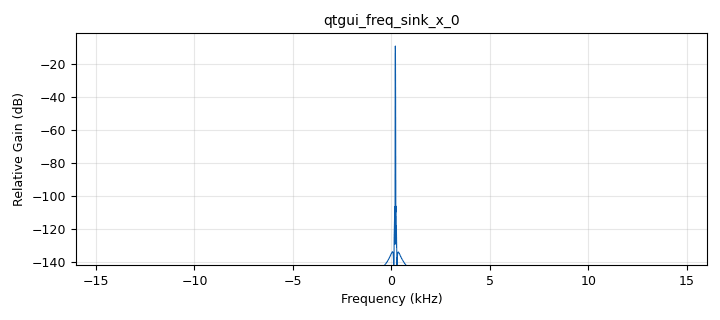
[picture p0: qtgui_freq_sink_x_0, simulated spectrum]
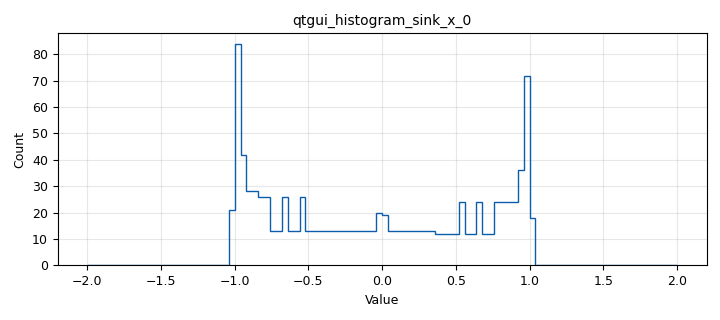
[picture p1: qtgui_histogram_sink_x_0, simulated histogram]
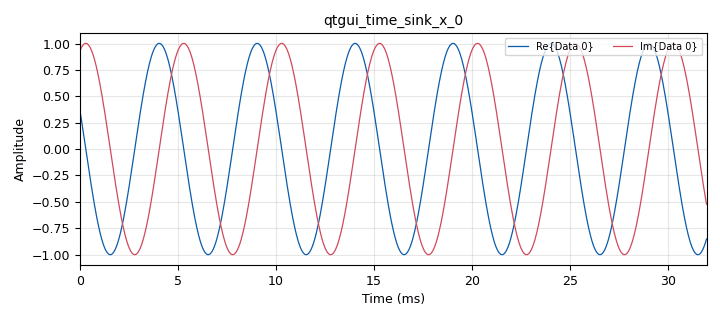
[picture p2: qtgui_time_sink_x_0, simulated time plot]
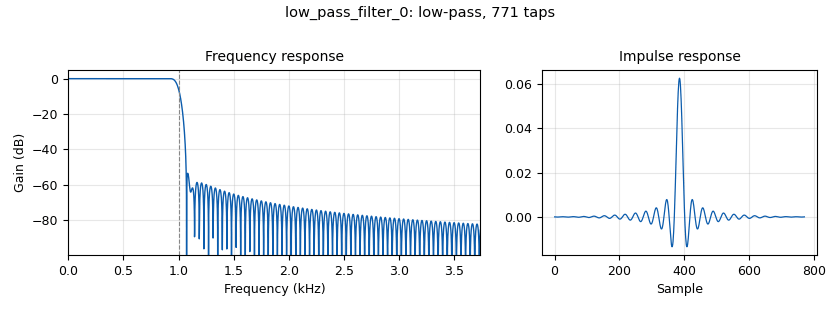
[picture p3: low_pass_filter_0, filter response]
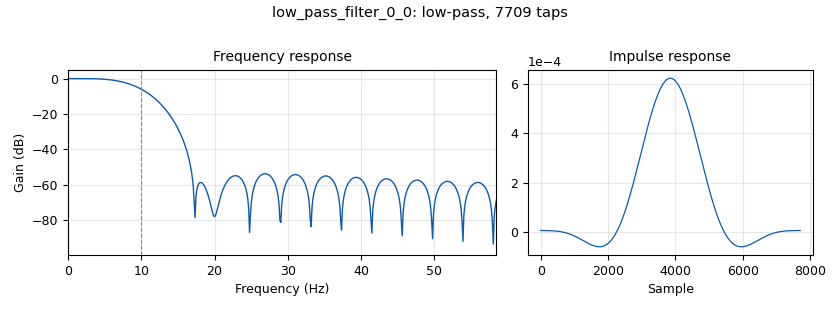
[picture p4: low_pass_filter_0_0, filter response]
<?xml version='1.0' encoding='utf-8'?>
<?grc format='1' created='3.7.11'?>
<flow_graph>
<block>
<key>options</key>
<param><key>id</key><value>power_x002</value></param>
<param><key>author</key><value>Maurice Woods</value></param>
<param><key>description</key><value>Lab 05</value></param>
<param><key>generate_options</key><value>qt_gui</value></param>
<param><key>title</key><value>Power/PSD Example 2</value></param>
</block>
<block>
<key>variable_qtgui_range</key>
<param><key>id</key><value>A</value></param>
<param><key>value</key><value>1</value></param>
<param><key>gui_hint</key><value>1,2,1,1</value></param>
<param><key>orient</key><value>Qt.Horizontal</value></param>
<param><key>start</key><value>0</value></param>
<param><key>step</key><value>0.1</value></param>
<param><key>stop</key><value>2</value></param>
</block>
<block>
<key>variable</key>
<param><key>id</key><value>Fs</value></param>
<param><key>value</key><value>32000</value></param>
</block>
<block>
<key>variable_qtgui_range</key>
<param><key>id</key><value>f0</value></param>
<param><key>value</key><value>200</value></param>
<param><key>gui_hint</key><value>0,2,1,1</value></param>
<param><key>label</key><value>f0</value></param>
<param><key>orient</key><value>Qt.Horizontal</value></param>
<param><key>start</key><value>0</value></param>
<param><key>step</key><value>1</value></param>
<param><key>stop</key><value>1000</value></param>
</block>
<block>
<key>variable_qtgui_range</key>
<param><key>id</key><value>fL</value></param>
<param><key>value</key><value>1000</value></param>
<param><key>gui_hint</key><value>1,3,1,1</value></param>
<param><key>label</key><value>fL</value></param>
<param><key>orient</key><value>Qt.Horizontal</value></param>
<param><key>start</key><value>10</value></param>
<param><key>step</key><value>1</value></param>
<param><key>stop</key><value>10000</value></param>
</block>
<block>
<key>variable_qtgui_range</key>
<param><key>id</key><value>offs</value></param>
<param><key>value</key><value>0</value></param>
<param><key>gui_hint</key><value>0,3,1,1</value></param>
<param><key>orient</key><value>Qt.Horizontal</value></param>
<param><key>start</key><value>-1</value></param>
<param><key>step</key><value>0.01</value></param>
<param><key>stop</key><value>1</value></param>
</block>
<block>
<key>variable_qtgui_chooser</key>
<param><key>id</key><value>waveform</value></param>
<param><key>value</key><value>102</value></param>
<param><key>gui_hint</key><value>0,0,1,2</value></param>
<param><key>label0</key><value>Cosine</value></param>
<param><key>label1</key><value>Rectangular</value></param>
<param><key>label2</key><value>Triangular</value></param>
<param><key>label</key><value>Waveformm</value></param>
<param><key>num_opts</key><value>3</value></param>
<param><key>option0</key><value>102</value></param>
<param><key>option1</key><value>103</value></param>
<param><key>option2</key><value>104</value></param>
<param><key>orient</key><value>Qt.QHBoxLayout</value></param>
<param><key>type</key><value>int</value></param>
</block>
<block>
<key>analog_sig_source_x</key>
<param><key>id</key><value>analog_sig_source_x_0</value></param>
<param><key>amp</key><value>A</value></param>
<param><key>freq</key><value>f0</value></param>
<param><key>offset</key><value>offs</value></param>
<param><key>type</key><value>complex</value></param>
<param><key>samp_rate</key><value>Fs</value></param>
<param><key>waveform</key><value>waveform</value></param>
</block>
<block>
<key>blocks_complex_to_float</key>
<param><key>id</key><value>blocks_complex_to_float_0</value></param>
</block>
<block>
<key>blocks_complex_to_imag</key>
<param><key>id</key><value>blocks_complex_to_imag_0</value></param>
</block>
<block>
<key>blocks_complex_to_mag_squared</key>
<param><key>id</key><value>blocks_complex_to_mag_squared_0</value></param>
</block>
<block>
<key>blocks_multiply_xx</key>
<param><key>id</key><value>blocks_multiply_xx_0</value></param>
<param><key>type</key><value>float</value></param>
</block>
<block>
<key>blocks_throttle</key>
<param><key>id</key><value>blocks_throttle_0</value></param>
<param><key>samples_per_second</key><value>Fs</value></param>
<param><key>type</key><value>complex</value></param>
</block>
<block>
<key>import</key>
<param><key>id</key><value>import_0</value></param>
<param><key>import</key><value>import ptfun</value></param>
</block>
<block>
<key>low_pass_filter</key>
<param><key>id</key><value>low_pass_filter_0</value></param>
<param><key>cutoff_freq</key><value>fL</value></param>
<param><key>decim</key><value>1</value></param>
<param><key>type</key><value>fir_filter_ccf</value></param>
<param><key>gain</key><value>1</value></param>
<param><key>samp_rate</key><value>Fs</value></param>
<param><key>width</key><value>100</value></param>
<param><key>win</key><value>firdes.WIN_HAMMING</value></param>
</block>
<block>
<key>low_pass_filter</key>
<param><key>id</key><value>low_pass_filter_0_0</value></param>
<param><key>cutoff_freq</key><value>10</value></param>
<param><key>decim</key><value>1</value></param>
<param><key>type</key><value>fir_filter_fff</value></param>
<param><key>gain</key><value>1</value></param>
<param><key>samp_rate</key><value>Fs</value></param>
<param><key>width</key><value>10</value></param>
<param><key>win</key><value>firdes.WIN_HAMMING</value></param>
</block>
<block>
<key>low_pass_filter</key>
<param><key>id</key><value>low_pass_filter_0_0_0</value></param>
<param><key>cutoff_freq</key><value>10</value></param>
<param><key>decim</key><value>1</value></param>
<param><key>type</key><value>fir_filter_fff</value></param>
<param><key>gain</key><value>1</value></param>
<param><key>samp_rate</key><value>Fs</value></param>
<param><key>width</key><value>10</value></param>
<param><key>win</key><value>firdes.WIN_HAMMING</value></param>
</block>
<block>
<key>qtgui_freq_sink_x</key>
<param><key>id</key><value>qtgui_freq_sink_x_0</value></param>
<param><key>autoscale</key><value>True</value></param>
<param><key>bw</key><value>Fs</value></param>
<param><key>fc</key><value>0</value></param>
<param><key>fftsize</key><value>8192</value></param>
<param><key>gui_hint</key><value>4,2,1,2</value></param>
<param><key>grid</key><value>True</value></param>
<param><key>showports</key><value>True</value></param>
<param><key>type</key><value>complex</value></param>
<param><key>wintype</key><value>firdes.WIN_BLACKMAN_hARRIS</value></param>
</block>
<block>
<key>qtgui_histogram_sink_x</key>
<param><key>id</key><value>qtgui_histogram_sink_x_0</value></param>
<param><key>gui_hint</key><value>5,2,1,2</value></param>
<param><key>grid</key><value>True</value></param>
<param><key>xmax</key><value>2</value></param>
<param><key>xmin</key><value>-2</value></param>
<param><key>bins</key><value>100</value></param>
<param><key>size</key><value>1024</value></param>
<param><key>type</key><value>float</value></param>
</block>
<block>
<key>qtgui_number_sink</key>
<param><key>id</key><value>qtgui_number_sink_0</value></param>
<param><key>gui_hint</key><value>3,0,3,1</value></param>
<param><key>graph_type</key><value>qtgui.NUM_GRAPH_VERT</value></param>
<param><key>type</key><value>float</value></param>
<param><key>max</key><value>2</value></param>
<param><key>min</key><value>0</value></param>
<param><key>name</key><value>"Avg Power"</value></param>
</block>
<block>
<key>qtgui_number_sink</key>
<param><key>id</key><value>qtgui_number_sink_0_0</value></param>
<param><key>gui_hint</key><value>3,1,3,1</value></param>
<param><key>graph_type</key><value>qtgui.NUM_GRAPH_VERT</value></param>
<param><key>type</key><value>float</value></param>
<param><key>max</key><value>2</value></param>
<param><key>min</key><value>0</value></param>
<param><key>name</key><value>"Imaginary Power"</value></param>
</block>
<block>
<key>qtgui_time_sink_x</key>
<param><key>id</key><value>qtgui_time_sink_x_0</value></param>
<param><key>autoscale</key><value>True</value></param>
<param><key>gui_hint</key><value>3,2,1,2</value></param>
<param><key>grid</key><value>True</value></param>
<param><key>color1</key><value>"blue"</value></param>
<param><key>label1</key><value></value></param>
<param><key>color2</key><value>"red"</value></param>
<param><key>label2</key><value></value></param>
<param><key>size</key><value>1024</value></param>
<param><key>srate</key><value>Fs</value></param>
<param><key>type</key><value>complex</value></param>
</block>
<connection><source_block_id>analog_sig_source_x_0</source_block_id><sink_block_id>blocks_throttle_0</sink_block_id><source_key>0</source_key><sink_key>0</sink_key></connection>
<connection><source_block_id>blocks_complex_to_float_0</source_block_id><sink_block_id>qtgui_histogram_sink_x_0</sink_block_id><source_key>0</source_key><sink_key>0</sink_key></connection>
<connection><source_block_id>blocks_complex_to_imag_0</source_block_id><sink_block_id>blocks_multiply_xx_0</sink_block_id><source_key>0</source_key><sink_key>0</sink_key></connection>
<connection><source_block_id>blocks_complex_to_imag_0</source_block_id><sink_block_id>blocks_multiply_xx_0</sink_block_id><source_key>0</source_key><sink_key>1</sink_key></connection>
<connection><source_block_id>blocks_complex_to_mag_squared_0</source_block_id><sink_block_id>low_pass_filter_0_0</sink_block_id><source_key>0</source_key><sink_key>0</sink_key></connection>
<connection><source_block_id>blocks_multiply_xx_0</source_block_id><sink_block_id>low_pass_filter_0_0_0</sink_block_id><source_key>0</source_key><sink_key>0</sink_key></connection>
<connection><source_block_id>blocks_throttle_0</source_block_id><sink_block_id>low_pass_filter_0</sink_block_id><source_key>0</source_key><sink_key>0</sink_key></connection>
<connection><source_block_id>low_pass_filter_0</source_block_id><sink_block_id>blocks_complex_to_float_0</sink_block_id><source_key>0</source_key><sink_key>0</sink_key></connection>
<connection><source_block_id>low_pass_filter_0</source_block_id><sink_block_id>blocks_complex_to_imag_0</sink_block_id><source_key>0</source_key><sink_key>0</sink_key></connection>
<connection><source_block_id>low_pass_filter_0</source_block_id><sink_block_id>blocks_complex_to_mag_squared_0</sink_block_id><source_key>0</source_key><sink_key>0</sink_key></connection>
<connection><source_block_id>low_pass_filter_0</source_block_id><sink_block_id>qtgui_freq_sink_x_0</sink_block_id><source_key>0</source_key><sink_key>0</sink_key></connection>
<connection><source_block_id>low_pass_filter_0</source_block_id><sink_block_id>qtgui_time_sink_x_0</sink_block_id><source_key>0</source_key><sink_key>0</sink_key></connection>
<connection><source_block_id>low_pass_filter_0_0</source_block_id><sink_block_id>qtgui_number_sink_0</sink_block_id><source_key>0</source_key><sink_key>0</sink_key></connection>
<connection><source_block_id>low_pass_filter_0_0_0</source_block_id><sink_block_id>qtgui_number_sink_0_0</sink_block_id><source_key>0</source_key><sink_key>0</sink_key></connection>
</flow_graph>
